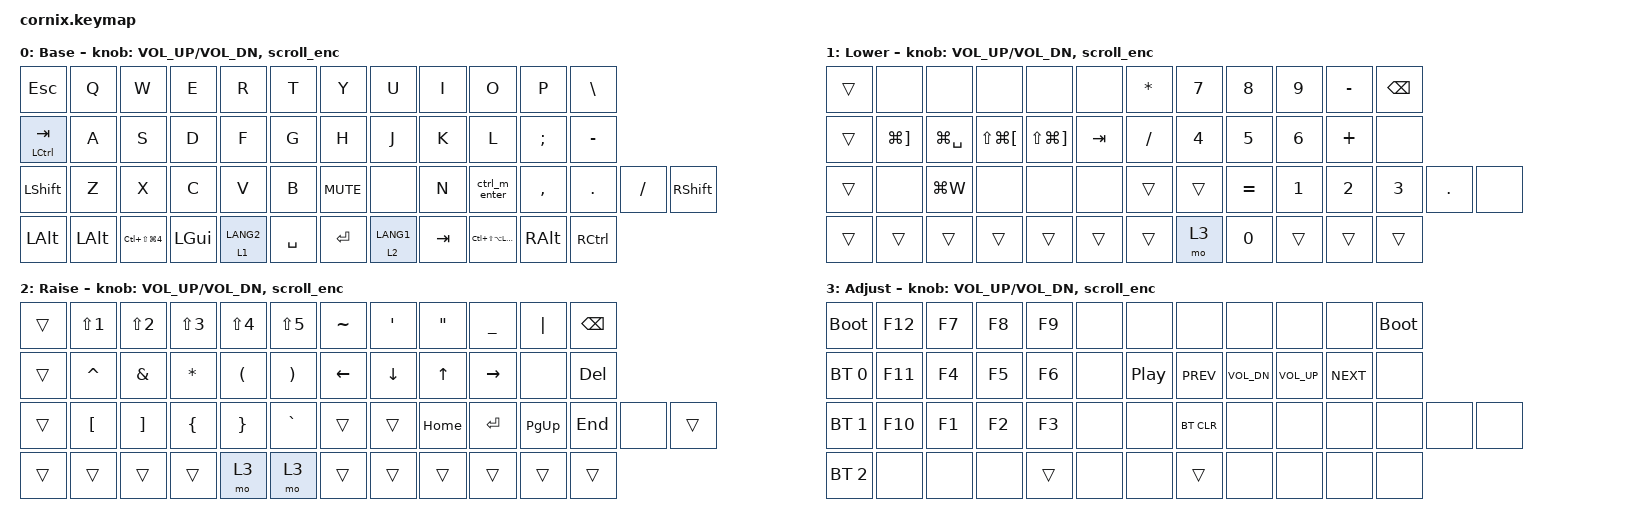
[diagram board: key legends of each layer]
/*
 * Cornix 用 keymap（Vial の cornix.vil から書き写したもの）
 *
 * SPDX-License-Identifier: MIT
 */

#include <behaviors.dtsi>
#include <dt-bindings/zmk/bt.h>
#include <dt-bindings/zmk/keys.h>
#include <dt-bindings/zmk/pointing.h>

// 長押しの判定時間（Vial の Tapping term と同じ）
#define TAPPING_TERM 250

// Combo：押す時間の差の上限と、直前の打鍵からこれだけ空いていないと Combo を判定しない時間
#define COMBO_TIMEOUT 70
// Karabiner の薙刀式の同時押しの幅（90ms）と揃える。これより短いと、X→J のような同時押しで J が待たされて失敗する
#define COMBO_PRIOR_IDLE 90

// 短く押すと Tab、長押しで Ctrl
// 押している間にほかのキーを押したら、すぐ Ctrl と判定する（Ctrl+H を素早く打っても Tab にならないように）
&mt {
    flavor = "hold-preferred";
    tapping-term-ms = <TAPPING_TERM>;
};

// 短く押すと英数／かな、長押しでレイヤー
// 押している間にほかのキーを押したら、すぐレイヤーに切り替える（素早く数字や記号を打っても英数／かなにならないように）
&lt {
    flavor = "hold-preferred";
    tapping-term-ms = <TAPPING_TERM>;
};

/ {
    behaviors {
        // M：Ctrl を押しているときだけ Enter を送る（Ctrl は外して送る）
        ctrl_m_enter: ctrl_m_enter {
            compatible = "zmk,behavior-mod-morph";
            #binding-cells = <0>;
            bindings = <&kp M>, <&kp RET>;
            mods = <(MOD_LCTL|MOD_RCTL)>;
        };

        // 右ノブ：回すとスクロール
        scroll_enc: scroll_encoder {
            compatible = "zmk,behavior-sensor-rotate";
            #sensor-binding-cells = <0>;
            bindings = <&msc SCRL_DOWN>, <&msc SCRL_UP>;
        };
    };

    combos {
        compatible = "zmk,combos";

        // J＋K でかな
        combo_kana {
            bindings = <&kp LANG1>;
            key-positions = <19 20>;
            timeout-ms = <COMBO_TIMEOUT>;
            require-prior-idle-ms = <COMBO_PRIOR_IDLE>;
        };

        // D＋F で英数
        combo_eisu {
            bindings = <&kp LANG2>;
            key-positions = <15 16>;
            timeout-ms = <COMBO_TIMEOUT>;
            require-prior-idle-ms = <COMBO_PRIOR_IDLE>;
        };
    };

    keymap {
        compatible = "zmk,keymap";

        default_layer {
            display-name = "Base";
            bindings = <
&kp ESC               &kp Q                 &kp W                 &kp E                 &kp R                 &kp T                 &kp Y                 &kp U                 &kp I                 &kp O                 &kp P                 &kp BSLH
&mt LCTRL TAB         &kp A                 &kp S                 &kp D                 &kp F                 &kp G                 &kp H                 &kp J                 &kp K                 &kp L                 &kp SEMI              &kp MINUS
&kp LSHFT             &kp Z                 &kp X                 &kp C                 &kp V                 &kp B                 &kp C_MUTE            &none                 &kp N                 &ctrl_m_enter         &kp COMMA             &kp DOT               &kp FSLH              &kp RSHFT
&kp LALT              &kp LALT              &kp LC(LS(LG(N4)))    &kp LGUI              &lt 1 LANG2           &kp SPACE             &kp RET               &lt 2 LANG1           &kp TAB               &kp LC(LS(LA(LGUI)))  &kp RALT              &kp RCTRL
            >;
            sensor-bindings = <&inc_dec_kp C_VOL_UP C_VOL_DN &scroll_enc>;
        };

        lower_layer {
            display-name = "Lower";
            bindings = <
&trans            &none             &none             &none             &none             &none             &kp ASTRK         &kp N7            &kp N8            &kp N9            &kp MINUS         &kp BSPC
&trans            &kp LG(RBKT)      &kp LG(SPACE)     &kp LS(LG(LBKT))  &kp LS(LG(RBKT))  &kp TAB           &kp FSLH          &kp N4            &kp N5            &kp N6            &kp PLUS          &none
&trans            &none             &kp LG(W)         &none             &none             &none             &trans            &trans            &kp EQUAL         &kp N1            &kp N2            &kp N3            &kp DOT           &none
&trans            &trans            &trans            &trans            &trans            &trans            &trans            &mo 3             &kp N0            &trans            &trans            &trans
            >;
            sensor-bindings = <&inc_dec_kp C_VOL_UP C_VOL_DN &scroll_enc>;
        };

        raise_layer {
            display-name = "Raise";
            bindings = <
&trans      &kp LS(N1)  &kp LS(N2)  &kp LS(N3)  &kp LS(N4)  &kp LS(N5)  &kp TILDE   &kp SQT     &kp DQT     &kp UNDER   &kp PIPE    &kp BSPC
&trans      &kp CARET   &kp AMPS    &kp ASTRK   &kp LPAR    &kp RPAR    &kp LEFT    &kp DOWN    &kp UP      &kp RIGHT   &none       &kp DEL
&trans      &kp LBKT    &kp RBKT    &kp LBRC    &kp RBRC    &kp GRAVE   &trans      &trans      &kp HOME    &kp RET     &kp PG_UP   &kp END     &none       &trans
&trans      &trans      &trans      &trans      &mo 3       &mo 3       &trans      &trans      &trans      &trans      &trans      &trans
            >;
            sensor-bindings = <&inc_dec_kp C_VOL_UP C_VOL_DN &scroll_enc>;
        };

        adjust_layer {
            display-name = "Adjust";
            bindings = <
&bootloader   &kp F12       &kp F7        &kp F8        &kp F9        &none         &none         &none         &none         &none         &none         &bootloader
&bt BT_SEL 0  &kp F11       &kp F4        &kp F5        &kp F6        &none         &kp C_PP      &kp C_PREV    &kp C_VOL_DN  &kp C_VOL_UP  &kp C_NEXT    &none
&bt BT_SEL 1  &kp F10       &kp F1        &kp F2        &kp F3        &none         &none         &bt BT_CLR    &none         &none         &none         &none         &none         &none
&bt BT_SEL 2  &none         &none         &none         &trans        &none         &none         &trans        &none         &none         &none         &none
            >;
            sensor-bindings = <&inc_dec_kp C_VOL_UP C_VOL_DN &scroll_enc>;
        };
    };
};
